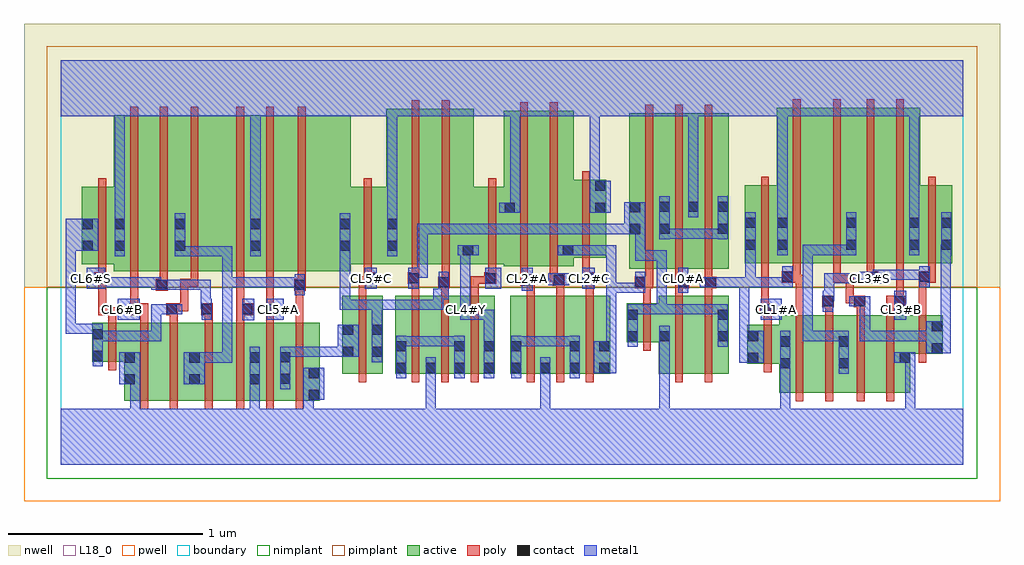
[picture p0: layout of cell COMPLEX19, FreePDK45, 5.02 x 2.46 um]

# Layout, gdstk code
import gdstk
lib = gdstk.Library(unit=1e-6, precision=1e-09)
def R(c, l, rs):  # rectangles x0, y0, x1, y1
    for r in rs: c.add(gdstk.rectangle(r[:2], r[2:], *l))
def A(c, l, x, y, w, h, nx, ny, dx, dy):  # array of equal rectangles
    R(c, l, [(x+i*dx, y+j*dy, x+i*dx+w, y+j*dy+h) for i in range(nx) for j in range(ny)])
active = (1, 0)
pwell = (2, 0)
nwell = (3, 0)
nimplant = (4, 0)
pimplant = (5, 0)
poly = (9, 0)
contact = (10, 0)
metal1 = (11, 0)
L18_0 = (18, 0)
boundary = (235, 0)

complex19 = lib.new_cell('COMPLEX19')
A(complex19, active, 2.46, 0.468, 0.06, 0.4, 3, 1, 0.152, 0)
R(complex19, active, [(0.326,0.33,0.506,0.73), (0.326,0.33,0.386,0.73), (0.506,0.33,0.718,0.73), (0.658,0.33,0.848,0.73), (0.848,0.33,1.028,0.73), (0.968,0.33,1.028,0.73), (0.968,0.33,1.184,0.73), (1.124,0.33,1.332,0.73), (1.272,0.33,1.332,0.73), (0.658,0.356,0.718,0.73), (1.124,0.356,1.184,0.73), (3.694,0.37,3.874,0.77), (3.874,0.37,4.054,0.77), (3.994,0.37,4.188,0.77), (4.188,0.37,4.368,0.77), (4.308,0.37,4.368,0.64), (1.448,0.468,1.508,0.868), (1.448,0.468,1.656,0.868), (1.596,0.468,1.656,0.868), (1.72,0.468,1.78,0.868), (1.72,0.468,1.932,0.868), (1.872,0.468,2.08,0.868), (1.872,0.468,1.932,0.528), (2.02,0.468,2.08,0.64), (2.02,0.468,2.232,0.868), (2.172,0.468,2.232,0.868), (2.312,0.468,2.372,0.868), (2.312,0.468,2.52,0.868), (2.46,0.468,2.672,0.868), (2.612,0.468,2.824,0.868), (3.074,0.468,3.254,0.868), (3.074,0.468,3.134,0.83), (3.254,0.468,3.434,0.868), (3.374,0.468,3.434,0.868), (3.994,0.468,4.054,0.664), (3.694,0.492,3.754,0.664), (3.53,0.52,3.59,0.72), (3.53,0.52,3.754,0.72), (0.162,0.53,0.222,0.73), (0.162,0.53,0.386,0.73), (4.308,0.57,4.534,0.77), (4.474,0.57,4.534,0.77), (2.91,0.63,2.97,0.83), (2.91,0.63,3.134,0.83), (0.274,0.996,0.454,1.796), (0.454,0.996,0.644,1.796), (0.584,0.996,0.848,1.796), (0.584,0.996,0.644,1.724), (0.848,0.996,1.032,1.796), (0.972,0.996,1.164,1.796), (0.972,0.996,1.032,1.756), (1.164,0.996,1.492,1.796), (2.922,1.008,2.982,1.724), (2.922,1.008,3.134,1.808), (3.074,1.008,3.134,1.724), (3.074,1.008,3.282,1.808), (3.222,1.008,3.434,1.808), (3.222,1.008,3.282,1.808), (3.374,1.008,3.434,1.724), (2.278,1.02,2.458,1.82), (2.458,1.02,2.638,1.82), (0.11,1.03,0.334,1.43), (0.11,1.03,0.17,1.356), (0.274,1.03,0.334,1.356), (1.432,1.03,1.734,1.43), (1.432,1.03,1.492,1.724), (1.674,1.03,1.904,1.83), (1.674,1.03,1.734,1.356), (1.904,1.03,2.124,1.83), (2.064,1.03,2.338,1.43), (2.064,1.03,2.124,1.62), (3.516,1.036,3.576,1.436), (3.516,1.036,3.74,1.436), (3.68,1.036,3.74,1.83), (3.68,1.036,3.914,1.836), (3.914,1.036,4.094,1.836), (4.034,1.036,4.238,1.836), (4.238,1.036,4.418,1.836), (4.358,1.036,4.582,1.436), (4.358,1.036,4.418,1.83), (4.522,1.036,4.582,1.436), (4.034,1.04,4.094,1.724), (2.578,1.064,2.804,1.464), (2.744,1.064,2.804,1.464), (2.578,1.072,2.638,1.62), (2.278,1.228,2.338,1.532)])
R(complex19, pwell, [(-0.188,-0.188,4.828,0.912)])
R(complex19, nwell, [(-0.188,0.912,4.828,2.268)])
R(complex19, nimplant, [(-0.072,-0.072,4.712,0.912)])
R(complex19, pimplant, [(-0.072,0.912,4.712,2.152)])
A(complex19, poly, 0.904, 0.286, 0.04, 0.488, 3, 1, 0.152, 0)
A(complex19, poly, 1.804, 0.424, 0.04, 0.488, 3, 1, 0.152, 0)
A(complex19, poly, 2.396, 0.424, 0.04, 0.488, 3, 1, 0.152, 0)
A(complex19, poly, 3.006, 0.928, 0.04, 0.076, 3, 1, 0.152, 0)
A(complex19, poly, 3.006, 0.964, 0.04, 0.888, 3, 1, 0.152, 0)
R(complex19, poly, [(0.41,0.286,0.45,0.774), (0.562,0.286,0.602,0.774), (0.742,0.286,0.782,0.774), (3.778,0.326,3.818,0.814), (3.93,0.326,3.97,0.814), (4.092,0.326,4.132,0.814), (4.244,0.326,4.284,0.814), (1.532,0.424,1.572,0.912), (3.158,0.424,3.198,0.912), (3.31,0.424,3.35,0.912), (3.614,0.476,3.654,0.764), (0.246,0.486,0.286,0.774), (4.41,0.526,4.45,0.814), (2.994,0.586,3.034,0.874), (3.614,0.724,3.654,0.81), (0.246,0.734,0.286,0.81), (0.41,0.734,0.45,0.81), (0.562,0.734,0.602,0.81), (0.742,0.734,0.782,0.81), (0.904,0.734,0.944,0.81), (1.056,0.734,1.096,0.81), (1.208,0.734,1.248,0.936), (0.194,0.77,0.286,0.81), (0.194,0.77,0.234,0.97), (0.352,0.77,0.45,0.83), (0.542,0.77,0.602,0.83), (0.722,0.77,0.782,0.83), (0.904,0.77,0.99,0.83), (1.056,0.77,1.116,0.83), (3.594,0.77,3.654,0.83), (3.778,0.774,3.818,0.976), (3.93,0.774,3.97,0.85), (4.092,0.774,4.132,0.85), (4.244,0.774,4.284,0.85), (4.41,0.774,4.45,0.976), (0.358,0.79,0.398,0.83), (0.358,0.79,0.398,0.83), (0.358,0.79,0.398,0.992), (0.562,0.79,0.656,0.83), (0.616,0.79,0.656,0.83), (0.616,0.79,0.656,0.956), (0.904,0.79,0.944,0.83), (0.904,0.79,0.944,0.83), (0.904,0.79,0.944,0.992), (1.056,0.79,1.096,0.83), (1.056,0.79,1.096,0.83), (1.056,0.79,1.096,0.992), (3.6,0.79,3.64,0.83), (3.6,0.79,3.64,0.83), (3.6,0.79,3.64,1.032), (3.914,0.81,3.974,0.87), (4.076,0.81,4.136,0.87), (4.244,0.81,4.34,0.87), (4.036,0.83,4.076,0.87), (4.036,0.83,4.116,0.87), (4.036,0.83,4.076,0.976), (4.294,0.83,4.334,0.87), (4.294,0.83,4.334,0.87), (4.294,0.83,4.334,1.032), (2.994,0.834,3.034,0.948), (1.532,0.872,1.572,0.97), (1.804,0.872,1.844,0.97), (1.956,0.872,1.996,0.948), (2.108,0.872,2.148,0.97), (2.396,0.872,2.436,0.96), (2.548,0.872,2.588,0.96), (2.7,0.872,2.74,0.97), (3.158,0.872,3.198,0.948), (3.31,0.872,3.35,0.948), (0.49,0.896,0.55,0.956), (1.2,0.896,1.26,0.956), (1.208,0.896,1.248,0.936), (1.208,0.896,1.248,0.936), (1.94,0.908,2,0.968), (2.95,0.908,3.046,0.968), (2.994,0.908,3.034,0.948), (2.994,0.908,3.034,0.948), (3.158,0.908,3.198,0.948), (3.158,0.908,3.198,0.948), (3.158,0.908,3.23,0.968), (3.31,0.908,3.37,0.968), (0.51,0.916,0.55,0.992), (0.616,0.916,0.656,0.956), (0.616,0.916,0.708,0.956), (0.668,0.916,0.708,0.992), (0.668,0.916,0.708,0.956), (1.22,0.916,1.26,0.992), (2.362,0.92,2.426,0.98), (2.386,0.92,2.426,0.96), (2.386,0.92,2.436,0.96), (2.53,0.92,2.59,0.98), (1.96,0.928,2,0.968), (1.96,0.928,2,0.968), (1.96,0.928,2,1.026), (3.31,0.928,3.35,0.968), (3.31,0.928,3.35,0.968), (0.174,0.93,0.234,0.99), (1.532,0.93,1.598,0.97), (1.558,0.93,1.598,0.97), (1.558,0.93,1.618,0.99), (1.784,0.93,1.844,0.99), (1.804,0.93,1.844,0.97), (1.804,0.93,1.844,0.97), (2.108,0.93,2.218,0.97), (2.178,0.93,2.218,0.97), (2.178,0.93,2.238,0.99), (2.68,0.93,2.74,0.99), (3.706,0.936,3.804,0.996), (3.764,0.936,3.804,0.976), (3.764,0.936,3.818,0.976), (3.97,0.936,4.01,0.976), (3.97,0.936,4.076,0.976), (3.97,0.936,4.01,1.032), (4.036,0.936,4.076,0.976), (4.142,0.936,4.202,0.996), (4.41,0.936,4.45,0.976), (4.41,0.936,4.45,0.976), (4.41,0.936,4.498,0.996), (2.362,0.94,2.402,1.016), (2.514,0.94,2.554,1.016), (2.514,0.94,2.57,0.98), (2.53,0.94,2.57,0.98), (0.194,0.95,0.234,1.026), (1.558,0.95,1.598,1.026), (1.804,0.95,1.844,1.026), (2.198,0.95,2.238,1.026), (2.68,0.95,2.72,0.99), (2.68,0.95,2.72,0.99), (2.68,0.95,2.72,1.06), (0.358,0.952,0.398,1.84), (0.51,0.952,0.55,1.84), (0.668,0.952,0.708,1.84), (0.904,0.952,0.944,1.84), (1.056,0.952,1.096,1.84), (1.22,0.952,1.26,1.84), (3.764,0.956,3.804,1.032), (4.142,0.956,4.182,1.032), (4.458,0.956,4.498,1.032), (2.362,0.976,2.402,1.864), (2.514,0.976,2.554,1.864), (0.194,0.986,0.234,1.474), (1.558,0.986,1.598,1.474), (1.804,0.986,1.844,1.874), (1.96,0.986,2,1.874), (2.198,0.986,2.238,1.474), (3.6,0.992,3.64,1.48), (3.764,0.992,3.804,1.88), (3.97,0.992,4.01,1.88), (4.142,0.992,4.182,1.88), (4.294,0.992,4.334,1.88), (4.458,0.992,4.498,1.48), (2.68,1.02,2.72,1.508)])
A(complex19, contact, 2.464, 0.472, 0.052, 0.052, 3, 1, 0.152, 0)
R(complex19, contact, [(1.276,0.334,1.328,0.386), (0.33,0.414,0.382,0.466), (0.662,0.414,0.714,0.466), (0.972,0.414,1.024,0.466), (1.128,0.416,1.18,0.468), (1.276,0.446,1.328,0.498), (1.724,0.472,1.776,0.524), (1.876,0.472,1.928,0.524), (2.024,0.472,2.076,0.524), (2.176,0.472,2.228,0.524), (2.316,0.472,2.368,0.524), (3.698,0.496,3.75,0.548), (3.998,0.496,4.05,0.548), (3.534,0.524,3.586,0.576), (0.33,0.526,0.382,0.578), (0.662,0.526,0.714,0.578), (0.972,0.526,1.024,0.578), (4.312,0.526,4.364,0.578), (1.128,0.528,1.18,0.58), (0.166,0.534,0.218,0.586), (1.452,0.556,1.504,0.608), (1.6,0.556,1.652,0.608), (4.478,0.574,4.53,0.626), (1.724,0.584,1.776,0.636), (2.024,0.584,2.076,0.636), (2.176,0.584,2.228,0.636), (2.316,0.584,2.368,0.636), (2.616,0.584,2.668,0.636), (2.768,0.584,2.82,0.636), (3.698,0.608,3.75,0.66), (3.998,0.608,4.05,0.66), (2.914,0.634,2.966,0.686), (3.078,0.634,3.13,0.686), (3.378,0.634,3.43,0.686), (3.534,0.636,3.586,0.688), (0.166,0.646,0.218,0.698), (1.452,0.668,1.504,0.72), (1.6,0.668,1.652,0.72), (4.478,0.686,4.53,0.738), (2.914,0.746,2.966,0.798), (3.378,0.746,3.43,0.798), (0.356,0.774,0.408,0.826), (0.546,0.774,0.598,0.826), (0.726,0.774,0.778,0.826), (0.934,0.774,0.986,0.826), (1.06,0.774,1.112,0.826), (3.598,0.774,3.65,0.826), (3.918,0.814,3.97,0.866), (4.08,0.814,4.132,0.866), (4.284,0.814,4.336,0.866), (0.494,0.9,0.546,0.952), (1.204,0.9,1.256,0.952), (1.944,0.912,1.996,0.964), (2.954,0.912,3.006,0.964), (3.174,0.912,3.226,0.964), (3.314,0.912,3.366,0.964), (2.37,0.924,2.422,0.976), (2.534,0.924,2.586,0.976), (0.178,0.934,0.23,0.986), (1.562,0.934,1.614,0.986), (1.788,0.934,1.84,0.986), (2.182,0.934,2.234,0.986), (2.684,0.934,2.736,0.986), (3.71,0.94,3.762,0.992), (4.146,0.94,4.198,0.992), (4.414,0.94,4.466,0.992), (2.068,1.076,2.12,1.128), (2.582,1.076,2.634,1.128), (0.114,1.1,0.166,1.152), (0.278,1.1,0.33,1.152), (0.588,1.1,0.64,1.152), (0.976,1.1,1.028,1.152), (1.436,1.1,1.488,1.152), (1.678,1.1,1.73,1.152), (3.52,1.106,3.572,1.158), (3.684,1.106,3.736,1.158), (4.038,1.106,4.09,1.158), (4.362,1.106,4.414,1.158), (4.526,1.106,4.578,1.158), (2.926,1.186,2.978,1.238), (3.078,1.188,3.13,1.24), (3.378,1.188,3.43,1.24), (0.114,1.212,0.166,1.264), (0.278,1.212,0.33,1.264), (0.588,1.212,0.64,1.264), (0.976,1.212,1.028,1.264), (1.436,1.212,1.488,1.264), (1.678,1.212,1.73,1.264), (3.52,1.218,3.572,1.27), (3.684,1.218,3.736,1.27), (4.038,1.218,4.09,1.27), (4.362,1.218,4.414,1.27), (4.526,1.218,4.578,1.27), (2.282,1.296,2.334,1.348), (2.748,1.296,2.8,1.348), (2.926,1.298,2.978,1.35), (3.078,1.3,3.13,1.352), (3.226,1.3,3.278,1.352), (3.378,1.3,3.43,1.352), (2.748,1.408,2.8,1.46)])
R(complex19, metal1, [(0,0,4.64,0.288), (0.358,0.236,0.41,0.466), (0.972,0.236,1.024,0.438), (1.248,0.236,1.3,0.386), (1.876,0.236,1.928,0.288), (1.876,0.236,1.928,0.288), (1.876,0.236,1.928,0.496), (2.464,0.236,2.516,0.496), (3.078,0.236,3.13,0.288), (3.078,0.236,3.13,0.288), (3.078,0.236,3.13,0.658), (3.698,0.236,3.75,0.288), (3.698,0.236,3.75,0.288), (3.698,0.236,3.75,0.52), (4.34,0.236,4.392,0.288), (4.34,0.236,4.392,0.288), (4.34,0.236,4.392,0.578), (1.248,0.334,1.3,0.386), (1.248,0.334,1.3,0.386), (1.248,0.334,1.356,0.498), (0.972,0.386,1.024,0.438), (0.972,0.386,1.024,0.438), (0.972,0.386,1.024,0.606), (1.128,0.388,1.18,0.608), (0.302,0.414,0.41,0.578), (0.358,0.414,0.41,0.466), (0.358,0.414,0.41,0.466), (0.634,0.414,0.742,0.578), (1.724,0.444,1.776,0.664), (1.876,0.444,1.928,0.552), (2.024,0.444,2.076,0.664), (2.176,0.444,2.228,0.664), (2.316,0.444,2.368,0.664), (2.464,0.444,2.516,0.496), (2.464,0.444,2.516,0.496), (2.464,0.444,2.516,0.552), (2.616,0.444,2.668,0.664), (3.698,0.468,3.75,0.688), (3.998,0.468,4.05,0.688), (2.74,0.472,2.856,0.636), (0.166,0.506,0.218,0.726), (3.488,0.524,3.614,0.688), (0.69,0.526,0.742,0.578), (0.69,0.526,0.742,0.578), (0.69,0.526,0.882,0.578), (0.83,0.526,0.882,0.578), (0.83,0.526,0.882,0.578), (0.83,0.526,0.882,0.578), (0.83,0.526,0.882,0.964), (4.284,0.526,4.392,0.578), (1.6,0.528,1.652,0.748), (1.128,0.556,1.29,0.608), (1.238,0.556,1.29,0.608), (1.238,0.556,1.29,0.608), (1.238,0.556,1.29,0.608), (1.238,0.556,1.476,0.608), (1.424,0.556,1.532,0.72), (4.45,0.574,4.576,0.738), (2.804,0.584,2.856,0.936), (2.914,0.606,2.966,0.826), (3.078,0.606,3.13,0.714), (3.378,0.606,3.43,0.826), (1.724,0.61,1.776,0.662), (1.724,0.61,1.776,0.662), (1.724,0.61,1.966,0.662), (1.914,0.61,1.966,0.662), (1.914,0.61,1.966,0.662), (1.914,0.61,1.966,0.662), (1.914,0.61,2.076,0.662), (2.316,0.61,2.368,0.662), (2.316,0.61,2.368,0.662), (2.316,0.61,2.496,0.662), (2.444,0.61,2.496,0.662), (2.444,0.61,2.496,0.662), (2.444,0.61,2.496,0.662), (2.444,0.61,2.668,0.662), (2.176,0.612,2.228,0.798), (0.166,0.636,0.218,0.688), (0.166,0.636,0.218,0.688), (0.166,0.636,0.34,0.688), (0.288,0.636,0.34,0.688), (0.288,0.636,0.34,0.688), (0.288,0.636,0.34,0.688), (0.288,0.636,0.518,0.688), (0.466,0.636,0.518,0.688), (0.466,0.636,0.518,0.826), (3.488,0.636,3.54,0.964), (3.814,0.636,3.866,0.688), (3.814,0.636,3.994,0.688), (3.814,0.636,3.866,0.798), (3.942,0.636,3.994,0.688), (3.942,0.636,4.05,0.688), (4.108,0.636,4.16,0.688), (4.108,0.636,4.356,0.688), (4.108,0.636,4.16,0.866), (4.304,0.636,4.356,0.688), (4.304,0.636,4.356,0.688), (4.304,0.636,4.356,0.688), (4.304,0.636,4.502,0.688), (4.45,0.636,4.502,0.688), (4.45,0.636,4.502,0.688), (0.026,0.674,0.218,0.726), (0.026,0.674,0.078,1.152), (0.166,0.674,0.218,0.726), (4.524,0.686,4.576,1.13), (1.6,0.696,1.652,0.848), (0.934,0.744,0.996,0.854), (0.294,0.746,0.408,0.854), (0.726,0.746,0.778,0.854), (1.06,0.746,1.146,0.854), (2.054,0.746,2.106,0.854), (2.054,0.746,2.228,0.798), (2.176,0.746,2.228,0.798), (2.176,0.746,2.228,0.798), (2.176,0.746,2.228,0.798), (3.598,0.746,3.706,0.854), (3.814,0.746,3.866,0.854), (4.284,0.746,4.346,0.894), (0.466,0.774,0.518,0.826), (0.466,0.774,0.57,0.826), (0.518,0.774,0.626,0.826), (2.914,0.774,2.966,0.826), (2.914,0.774,2.966,0.826), (2.914,0.774,3.116,0.826), (3.064,0.774,3.116,0.826), (3.064,0.774,3.116,0.826), (3.064,0.774,3.116,0.826), (3.064,0.774,3.116,0.826), (3.064,0.774,3.116,0.826), (3.064,0.774,3.116,0.826), (3.064,0.774,3.116,0.826), (3.064,0.774,3.116,1.102), (3.064,0.774,3.284,0.826), (3.232,0.774,3.284,0.826), (3.232,0.774,3.284,0.826), (3.232,0.774,3.284,0.826), (3.232,0.774,3.43,0.826), (3.918,0.786,3.97,0.894), (1.436,0.796,1.488,0.848), (1.436,0.796,1.488,0.848), (1.436,0.796,1.488,0.848), (1.436,0.796,1.488,1.124), (1.436,0.796,1.652,0.848), (1.6,0.796,1.652,0.848), (1.6,0.796,1.762,0.848), (1.71,0.796,1.762,0.848), (1.71,0.796,1.762,0.848), (1.71,0.796,1.762,0.848), (1.71,0.796,1.966,0.848), (1.914,0.796,1.966,0.904), (0.72,0.802,0.772,0.854), (0.72,0.802,0.778,0.854), (0.72,0.802,0.772,0.952), (2.054,0.802,2.106,1.128), (3.814,0.802,3.866,0.854), (3.814,0.802,3.866,0.854), (3.814,0.802,3.866,1.13), (4.052,0.814,4.16,0.866), (4.108,0.814,4.16,0.866), (4.108,0.814,4.16,0.866), (3.918,0.842,3.976,0.894), (3.924,0.842,3.976,0.894), (3.924,0.842,3.976,0.986), (1.914,0.852,1.996,0.904), (1.944,0.852,1.996,0.992), (1.204,0.872,1.256,0.98), (2.804,0.884,2.856,0.936), (2.804,0.884,2.856,0.936), (2.804,0.884,2.856,0.936), (2.804,0.884,2.856,0.936), (2.804,0.884,2.856,0.936), (2.804,0.884,3.006,0.936), (2.804,0.884,2.856,1.128), (2.954,0.884,3.006,0.992), (3.174,0.884,3.226,1.014), (2.37,0.896,2.426,1.014), (0.466,0.9,0.518,0.952), (0.466,0.9,0.574,0.952), (0.466,0.9,0.518,0.964), (0.522,0.9,0.772,0.952), (0.72,0.9,0.772,0.952), (0.134,0.906,0.23,1.014), (1.562,0.906,1.626,1.014), (1.788,0.906,1.84,1.014), (2.182,0.906,2.266,1.014), (2.682,0.906,2.746,1.014), (0.178,0.912,0.34,0.964), (0.288,0.912,0.34,0.964), (0.288,0.912,0.34,0.964), (0.288,0.912,0.34,0.964), (0.288,0.912,0.518,0.964), (0.83,0.912,0.882,0.964), (0.83,0.912,0.996,0.964), (0.83,0.912,0.882,1.124), (0.944,0.912,0.996,0.964), (0.944,0.912,0.996,0.964), (0.944,0.912,0.996,0.964), (0.944,0.912,1.106,0.964), (1.054,0.912,1.106,0.964), (1.054,0.912,1.106,0.964), (1.054,0.912,1.106,0.964), (1.054,0.912,1.256,0.964), (3.286,0.912,3.394,0.964), (3.342,0.912,3.394,0.964), (3.342,0.912,3.394,0.964), (3.342,0.912,3.54,0.964), (3.488,0.912,3.54,0.964), (3.488,0.912,3.54,0.964), (3.488,0.912,3.572,0.964), (3.52,0.912,3.572,0.964), (3.52,0.912,3.572,0.964), (3.52,0.912,3.682,0.964), (3.52,0.912,3.572,1.13), (3.63,0.912,3.682,0.964), (3.63,0.912,3.762,0.964), (3.71,0.912,3.762,1.02), (4.414,0.912,4.466,1.02), (2.506,0.924,2.614,0.986), (3.924,0.934,3.976,0.986), (3.924,0.934,4.158,0.986), (4.106,0.934,4.226,0.992), (4.174,0.94,4.226,0.992), (4.174,0.94,4.226,1.004), (4.174,0.952,4.356,1.004), (4.304,0.952,4.356,1.004), (4.304,0.952,4.356,1.004), (4.304,0.952,4.356,1.004), (4.304,0.952,4.466,1.004), (1.788,0.962,1.886,1.014), (1.834,0.962,1.886,1.014), (1.834,0.962,1.886,1.238), (2.954,1.05,3.006,1.102), (2.954,1.05,3.006,1.102), (2.954,1.05,3.006,1.102), (2.954,1.05,3.116,1.102), (2.954,1.05,3.006,1.238), (3.064,1.05,3.116,1.102), (0.278,1.072,0.33,1.292), (0.588,1.072,0.64,1.292), (0.588,1.072,0.736,1.124), (0.684,1.072,0.736,1.124), (0.684,1.072,0.882,1.124), (0.83,1.072,0.882,1.124), (0.976,1.072,1.028,1.292), (1.436,1.072,1.488,1.124), (1.436,1.072,1.488,1.124), (1.436,1.072,1.488,1.292), (1.678,1.072,1.73,1.292), (2.04,1.076,2.148,1.128), (2.054,1.076,2.106,1.128), (2.054,1.076,2.106,1.128), (2.554,1.076,2.662,1.128), (2.61,1.076,2.662,1.128), (2.61,1.076,2.662,1.128), (2.61,1.076,2.856,1.128), (2.804,1.076,2.856,1.128), (3.52,1.078,3.572,1.298), (3.684,1.078,3.736,1.298), (3.814,1.078,3.866,1.13), (3.814,1.078,3.994,1.13), (3.942,1.078,3.994,1.13), (3.942,1.078,4.09,1.13), (4.038,1.078,4.09,1.298), (4.362,1.078,4.414,1.298), (4.524,1.078,4.578,1.13), (4.526,1.078,4.578,1.13), (4.526,1.078,4.578,1.13), (4.526,1.078,4.578,1.13), (4.526,1.078,4.578,1.298), (0.026,1.1,0.078,1.152), (0.026,1.1,0.078,1.152), (0.026,1.1,0.194,1.264), (3.078,1.16,3.13,1.38), (3.378,1.16,3.43,1.38), (3.078,1.162,3.13,1.214), (3.078,1.162,3.13,1.214), (3.078,1.162,3.284,1.214), (3.232,1.162,3.284,1.214), (3.232,1.162,3.284,1.214), (3.232,1.162,3.284,1.214), (3.232,1.162,3.284,1.214), (3.232,1.162,3.284,1.214), (3.232,1.162,3.43,1.214), (1.834,1.186,1.95,1.238), (1.898,1.186,1.95,1.238), (1.898,1.186,1.95,1.238), (1.898,1.186,1.95,1.238), (1.898,1.186,1.95,1.238), (1.898,1.186,2.076,1.238), (2.024,1.186,2.076,1.238), (2.024,1.186,2.258,1.238), (2.206,1.186,2.258,1.238), (2.206,1.186,2.258,1.238), (2.206,1.186,2.258,1.238), (2.206,1.186,2.258,1.238), (2.206,1.186,2.258,1.238), (2.206,1.186,2.368,1.238), (2.316,1.186,2.368,1.238), (2.316,1.186,2.368,1.238), (2.316,1.186,2.368,1.238), (2.316,1.186,2.496,1.238), (2.444,1.186,2.496,1.238), (2.444,1.186,2.496,1.238), (2.444,1.186,2.496,1.238), (2.444,1.186,2.496,1.238), (2.444,1.186,2.496,1.238), (2.444,1.186,2.662,1.238), (2.61,1.186,2.662,1.238), (2.61,1.186,2.662,1.238), (2.61,1.186,2.662,1.238), (2.61,1.186,2.856,1.238), (2.804,1.186,2.856,1.238), (2.804,1.186,2.95,1.238), (2.898,1.186,3.006,1.35), (0.278,1.24,0.33,1.844), (0.976,1.24,1.028,1.844), (1.678,1.24,1.73,1.844), (3.684,1.246,3.736,1.844), (4.362,1.246,4.414,1.844), (3.226,1.272,3.278,1.38), (2.254,1.296,2.362,1.348), (2.31,1.296,2.362,1.844), (2.72,1.296,2.828,1.46), (3.226,1.328,3.278,1.844), (2.72,1.408,2.772,1.46), (2.72,1.408,2.772,1.46), (2.72,1.408,2.772,1.844), (0,1.792,4.64,2.08), (2.72,1.792,2.772,1.844), (2.72,1.792,2.772,1.844), (2.72,1.792,2.772,1.844), (2.72,1.792,2.772,1.844), (2.72,1.792,2.772,1.844), (2.72,1.792,2.772,1.844)])
A(complex19, L18_0, 2.214, 0.934, 0.052, 0.052, 4, 1, 0.16, 0)
R(complex19, L18_0, [(0,0,4.64,0.288), (0.358,0.236,0.41,0.466), (0.972,0.236,1.024,0.438), (1.248,0.236,1.3,0.386), (1.876,0.236,1.928,0.288), (1.876,0.236,1.928,0.288), (1.876,0.236,1.928,0.496), (2.464,0.236,2.516,0.496), (3.078,0.236,3.13,0.288), (3.078,0.236,3.13,0.288), (3.078,0.236,3.13,0.658), (3.698,0.236,3.75,0.288), (3.698,0.236,3.75,0.288), (3.698,0.236,3.75,0.52), (4.34,0.236,4.392,0.288), (4.34,0.236,4.392,0.288), (4.34,0.236,4.392,0.578), (1.248,0.334,1.3,0.386), (1.248,0.334,1.3,0.386), (1.248,0.334,1.356,0.498), (0.972,0.386,1.024,0.438), (0.972,0.386,1.024,0.438), (0.972,0.386,1.024,0.606), (0.302,0.414,0.41,0.578), (0.358,0.414,0.41,0.466), (0.358,0.414,0.41,0.466), (1.876,0.444,1.928,0.552), (2.176,0.444,2.228,0.664), (2.464,0.444,2.516,0.496), (2.464,0.444,2.516,0.496), (2.464,0.444,2.516,0.552), (3.698,0.468,3.75,0.688), (3.998,0.468,4.05,0.688), (4.284,0.526,4.392,0.578), (3.078,0.606,3.13,0.714), (2.176,0.612,2.228,0.798), (3.814,0.636,3.866,0.688), (3.814,0.636,3.866,0.798), (3.814,0.636,3.994,0.688), (3.942,0.636,3.994,0.688), (3.942,0.636,4.05,0.688), (0.934,0.744,0.996,0.854), (0.294,0.746,0.408,0.854), (0.726,0.746,0.778,0.854), (1.06,0.746,1.146,0.854), (2.054,0.746,2.106,0.854), (2.054,0.746,2.228,0.798), (2.176,0.746,2.228,0.798), (2.176,0.746,2.228,0.798), (2.176,0.746,2.228,0.798), (3.598,0.746,3.706,0.854), (3.814,0.746,3.866,0.854), (4.284,0.746,4.346,0.894), (0.294,0.774,0.346,0.826), (0.934,0.774,0.986,0.826), (1.094,0.774,1.146,0.826), (2.054,0.774,2.106,0.826), (3.654,0.774,3.706,0.826), (3.814,0.774,3.866,0.826), (4.294,0.774,4.346,0.826), (3.918,0.786,3.97,0.894), (0.72,0.802,0.772,0.854), (0.72,0.802,0.772,0.952), (0.72,0.802,0.778,0.854), (2.054,0.802,2.106,1.128), (3.814,0.802,3.866,0.854), (3.814,0.802,3.866,0.854), (3.814,0.802,3.866,1.13), (3.918,0.842,3.976,0.894), (3.924,0.842,3.976,0.894), (3.924,0.842,3.976,0.986), (3.174,0.884,3.226,1.014), (2.37,0.896,2.426,1.014), (0.466,0.9,0.518,0.952), (0.466,0.9,0.518,0.964), (0.466,0.9,0.574,0.952), (0.522,0.9,0.772,0.952), (0.72,0.9,0.772,0.952), (0.134,0.906,0.23,1.014), (1.562,0.906,1.626,1.014), (2.182,0.906,2.266,1.014), (2.682,0.906,2.746,1.014), (0.178,0.912,0.34,0.964), (0.288,0.912,0.34,0.964), (0.288,0.912,0.34,0.964), (0.288,0.912,0.34,0.964), (0.288,0.912,0.518,0.964), (4.414,0.912,4.466,1.02), (2.506,0.924,2.614,0.986), (0.134,0.934,0.186,0.986), (1.574,0.934,1.626,0.986), (3.174,0.934,3.226,0.986), (3.924,0.934,3.976,0.986), (3.924,0.934,4.158,0.986), (4.106,0.934,4.226,0.992), (4.134,0.934,4.186,0.986), (4.174,0.94,4.226,0.992), (4.174,0.94,4.226,1.004), (4.174,0.952,4.356,1.004), (4.304,0.952,4.356,1.004), (4.304,0.952,4.356,1.004), (4.304,0.952,4.356,1.004), (4.304,0.952,4.466,1.004), (0.278,1.072,0.33,1.292), (0.976,1.072,1.028,1.292), (1.678,1.072,1.73,1.292), (2.04,1.076,2.148,1.128), (2.054,1.076,2.106,1.128), (2.054,1.076,2.106,1.128), (3.684,1.078,3.736,1.298), (3.814,1.078,3.866,1.13), (3.814,1.078,3.994,1.13), (3.942,1.078,3.994,1.13), (3.942,1.078,4.09,1.13), (4.038,1.078,4.09,1.298), (4.362,1.078,4.414,1.298), (0.278,1.24,0.33,1.844), (0.976,1.24,1.028,1.844), (1.678,1.24,1.73,1.844), (3.684,1.246,3.736,1.844), (4.362,1.246,4.414,1.844), (3.226,1.272,3.278,1.38), (2.254,1.296,2.362,1.348), (2.31,1.296,2.362,1.844), (2.72,1.296,2.828,1.46), (3.226,1.328,3.278,1.844), (2.72,1.408,2.772,1.46), (2.72,1.408,2.772,1.46), (2.72,1.408,2.772,1.844), (0,1.792,4.64,2.08), (2.72,1.792,2.772,1.844), (2.72,1.792,2.772,1.844), (2.72,1.792,2.772,1.844), (2.72,1.792,2.772,1.844), (2.72,1.792,2.772,1.844), (2.72,1.792,2.772,1.844)])
R(complex19, boundary, [(0,0,4.64,2.08)])
complex19.add(gdstk.Label('CL0#A', (3.2,0.96), layer=11, texttype=0))
complex19.add(gdstk.Label('CL1#A', (3.68,0.8), layer=11, texttype=0))
complex19.add(gdstk.Label('CL2#A', (2.4,0.96), layer=11, texttype=0))
complex19.add(gdstk.Label('CL2#B', (2.56,0.96), layer=11, texttype=0))
complex19.add(gdstk.Label('CL2#C', (2.72,0.96), layer=11, texttype=0))
complex19.add(gdstk.Label('CL3#B', (4.32,0.8), layer=11, texttype=0))
complex19.add(gdstk.Label('CL3#S', (4.16,0.96), layer=11, texttype=0))
complex19.add(gdstk.Label('CL3#Y', (3.84,0.8), layer=11, texttype=0))
complex19.add(gdstk.Label('CL4#C', (2.24,0.96), layer=11, texttype=0))
complex19.add(gdstk.Label('CL4#Y', (2.08,0.8), layer=11, texttype=0))
complex19.add(gdstk.Label('CL5#A', (1.12,0.8), layer=11, texttype=0))
complex19.add(gdstk.Label('CL5#C', (1.6,0.96), layer=11, texttype=0))
complex19.add(gdstk.Label('CL6#A', (0.96,0.8), layer=11, texttype=0))
complex19.add(gdstk.Label('CL6#B', (0.32,0.8), layer=11, texttype=0))
complex19.add(gdstk.Label('CL6#S', (0.16,0.96), layer=11, texttype=0))

lib.write_gds('COMPLEX19.gds')
